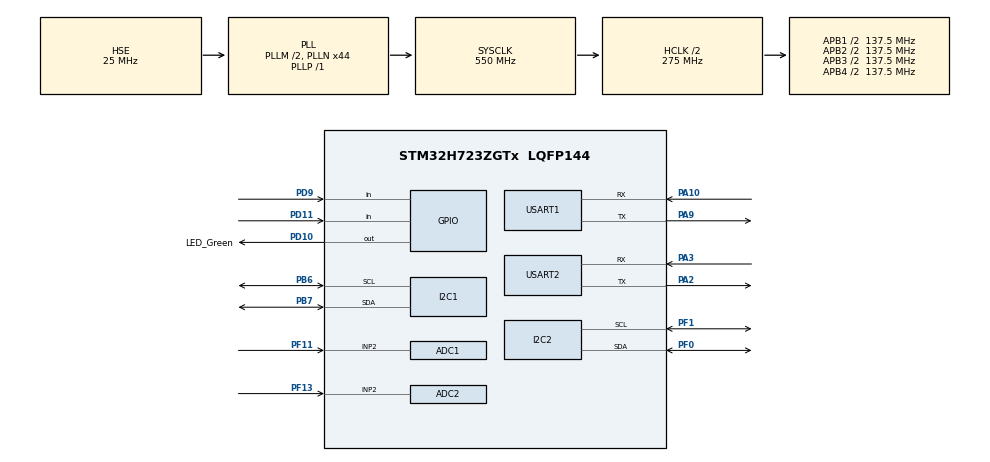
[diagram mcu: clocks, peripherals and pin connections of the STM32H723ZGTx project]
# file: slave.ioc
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ADC1.Channel-0\#ChannelRegularConversion=ADC_CHANNEL_2
ADC1.NbrOfConversionFlag=1
ADC1.OffsetNumber-0\#ChannelRegularConversion=ADC_OFFSET_NONE
ADC1.OffsetSignedSaturation-0\#ChannelRegularConversion=DISABLE
ADC1.Rank-0\#ChannelRegularConversion=1
ADC1.SamplingTime-0\#ChannelRegularConversion=ADC_SAMPLETIME_1CYCLE_5
ADC1.master=1
ADC2.Channel-0\#ChannelRegularConversion=ADC_CHANNEL_2
ADC2.NbrOfConversionFlag=1
ADC2.OffsetNumber-0\#ChannelRegularConversion=ADC_OFFSET_NONE
ADC2.OffsetSignedSaturation-0\#ChannelRegularConversion=DISABLE
ADC2.Rank-0\#ChannelRegularConversion=1
ADC2.SamplingTime-0\#ChannelRegularConversion=ADC_SAMPLETIME_1CYCLE_5
I2C1.OwnAddress=0x3C
I2C1.Timing=0x60404E72
I2C2.OwnAddress=0x3C
I2C2.Timing=0x60404E72
Mcu.Family=STM32H7
Mcu.Name=STM32H723ZGTx
Mcu.Package=LQFP144
NVIC.PriorityGroup=NVIC_PRIORITYGROUP_4
NVIC.USART1_IRQn=true\:0\:0\:false\:false\:true\:true\:true\:true
NVIC.USART2_IRQn=true\:0\:0\:false\:false\:true\:true\:true\:true
PA10.Mode=Asynchronous
PA10.Signal=USART1_RX
PA13(JTMS/SWDIO).Mode=Serial_Wire
PA13(JTMS/SWDIO).Signal=DEBUG_JTMS-SWDIO
PA14(JTCK/SWCLK).Mode=Serial_Wire
PA14(JTCK/SWCLK).Signal=DEBUG_JTCK-SWCLK
PA2.Mode=Asynchronous
PA2.Signal=USART2_TX
PA3.Mode=Asynchronous
PA3.Signal=USART2_RX
PA9.Mode=Asynchronous
PA9.Signal=USART1_TX
PB6.Mode=I2C
PB6.Signal=I2C1_SCL
PB7.Mode=I2C
PB7.Signal=I2C1_SDA
PD10.GPIO_Label=LED_Green
PD10.Signal=GPIO_Output
PD11.Signal=GPIO_Input
PD9.Signal=GPIO_Input
PF0.Mode=I2C
PF0.Signal=I2C2_SDA
PF1.Mode=I2C
PF1.Signal=I2C2_SCL
PF11.Mode=IN2-Single-Ended
PF11.Signal=ADC1_INP2
PF13.Mode=IN2-Single-Ended
PF13.Signal=ADC2_INP2
PH0-OSC_IN.Mode=HSE-External-Oscillator
PH0-OSC_IN.Signal=RCC_OSC_IN
PH1-OSC_OUT.Mode=HSE-External-Oscillator
PH1-OSC_OUT.Signal=RCC_OSC_OUT
ProjectManager.HeapSize=0x200
ProjectManager.StackSize=0x400
ProjectManager.TargetToolchain=MDK-ARM V5.32
RCC.ADCFreq_Value=100000000
RCC.APB1Freq_Value=137500000
RCC.APB2Freq_Value=137500000
RCC.APB3Freq_Value=137500000
RCC.APB4Freq_Value=137500000
RCC.CortexFreq_Value=550000000
RCC.D1PPRE=RCC_APB3_DIV2
RCC.D2PPRE1=RCC_APB1_DIV2
RCC.D2PPRE2=RCC_APB2_DIV2
RCC.D3PPRE=RCC_APB4_DIV2
RCC.DIVM1=2
RCC.DIVM2=2
RCC.DIVN1=44
RCC.DIVN2=16
RCC.DIVP1=1
RCC.HCLKFreq_Value=275000000
RCC.HPRE=RCC_HCLK_DIV2
RCC.PLLFRACN=0
RCC.PLLSourceVirtual=RCC_PLLSOURCE_HSE
RCC.SYSCLKFreq_VALUE=550000000
RCC.SYSCLKSource=RCC_SYSCLKSOURCE_PLLCLK
RCC.USBFreq_Value=275000000
USART1.VirtualMode-Asynchronous=VM_ASYNC
USART2.VirtualMode-Asynchronous=VM_ASYNC
board=custom

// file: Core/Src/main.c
/* USER CODE BEGIN Header */
/**
  ******************************************************************************
  * @file           : main.c
  * @brief          : Main program body
  ******************************************************************************
  * @attention
  *
  * Copyright (c) 2025 STMicroelectronics.
  * All rights reserved.
  *
  * This software is licensed under terms that can be found in the LICENSE file
  * in the root directory of this software component.
  * If no LICENSE file comes with this software, it is provided AS-IS.
  *
  ******************************************************************************
  */
/* USER CODE END Header */
#include "main.h"
#include "adc.h"
#include "i2c.h"
#include "usart.h"
#include "gpio.h"

#include <stdio.h>
#include <string.h>
#include <stdbool.h>

/* USER CODE BEGIN PTD */
#define ADDR_24LCxx_Write 0xA0
#define ADDR_24LCxx_Read  0xA1
#define BufferSize        0x100

#define BUTTON_GPIO_Port  GPIOD   // For example, if D9 is on GPIOD pin 9
#define BUTTON_Pin        GPIO_PIN_9

#define LED_GPIO_Port     GPIOD   // For example, if D10 is on GPIOD pin 10
#define LED_Pin           GPIO_PIN_10

uint32_t x_axis = 0;
uint32_t y_axis = 0;
char uartMsg[50];
uint8_t receivedData[20];
uint8_t rxByte2;  // Used for USART2 RX interrupt

// New variables for main-based processing of received data:
volatile uint8_t rxFlag = 0;    // Flag set when a new byte is received
volatile uint8_t rxData = 0;    // Holds the received byte

/* USER CODE END PTD */

/* USER CODE BEGIN PD */
uint8_t I2C_Buffer_Write[BufferSize], ReadBuffer[BufferSize];
/* USER CODE END PD */

void SystemClock_Config(void);
void PeriphCommonClock_Config(void);

int main(void)
{

  /* MCU Configuration--------------------------------------------------------*/
  HAL_Init();

  /* Configure the system clock */
  SystemClock_Config();
  /* Configure the peripherals common clocks */
  PeriphCommonClock_Config();

  /* Initialize all configured peripherals */
  MX_GPIO_Init();
  MX_I2C2_Init();
  MX_USART1_UART_Init();
  MX_I2C1_Init();
  MX_ADC1_Init();
  MX_ADC2_Init();
  MX_USART2_UART_Init();

  /* USER CODE BEGIN 2 */
  // Start interrupt-based reception on USART2 (1 byte at a time)
  if (HAL_UART_Receive_IT(&huart2, &rxByte2, 1) != HAL_OK)
  {
      Error_Handler();
  }

  // Turn LED ON by default
  HAL_GPIO_WritePin(LED_GPIO_Port, LED_Pin, GPIO_PIN_SET);
  /* USER CODE END 2 */

  // Initialize button state (assume pull-up, so default is SET)
  GPIO_PinState lastButtonState = GPIO_PIN_SET;

  /* Infinite loop */
  /* USER CODE BEGIN WHILE */
  while (1)
  {
    /* Optional: transmit test data via USART1 */
    HAL_UART_Transmit(&huart1, (uint8_t*)"666\n", 4, HAL_MAX_DELAY);

    HAL_Delay(100);

    // Read ADC1 for x_axis (PF11)
    HAL_ADC_Start(&hadc1);
    if (HAL_ADC_PollForConversion(&hadc1, 10) == HAL_OK)
    {
      x_axis = HAL_ADC_GetValue(&hadc1);
    }
    HAL_ADC_Stop(&hadc1);

    // Read ADC2 for y_axis (PF13)
    HAL_ADC_Start(&hadc2);
    if (HAL_ADC_PollForConversion(&hadc2, 10) == HAL_OK)
    {
      y_axis = HAL_ADC_GetValue(&hadc2);
    }
    HAL_ADC_Stop(&hadc2);

    // Check joystick direction and transmit message via USART2
    if (x_axis <= 3000 && y_axis <= 3000)
    {
        sprintf(uartMsg, "moving up left\r\n");
        HAL_UART_Transmit(&huart2, (uint8_t*)uartMsg, strlen(uartMsg), HAL_MAX_DELAY);
    }
    else if (x_axis <= 3000 && y_axis >= 55000)
    {
        sprintf(uartMsg, "moving up right\r\n");
        HAL_UART_Transmit(&huart2, (uint8_t*)uartMsg, strlen(uartMsg), HAL_MAX_DELAY);
    }
    else if (x_axis >= 55000 && y_axis <= 3000)
    {
        sprintf(uartMsg, "moving down left\r\n");
        HAL_UART_Transmit(&huart2, (uint8_t*)uartMsg, strlen(uartMsg), HAL_MAX_DELAY);
    }
    else if (x_axis >= 55000 && y_axis >= 55000)
    {
        sprintf(uartMsg, "moving down right\r\n");
        HAL_UART_Transmit(&huart2, (uint8_t*)uartMsg, strlen(uartMsg), HAL_MAX_DELAY);
    }
    else if (x_axis <= 3000)  // Only vertical (up) if not diagonal
    {
        sprintf(uartMsg, "moving up\r\n");
        HAL_UART_Transmit(&huart2, (uint8_t*)uartMsg, strlen(uartMsg), HAL_MAX_DELAY);
    }
    else if (x_axis >= 55000) // Only vertical (down) if not diagonal
    {
        sprintf(uartMsg, "moving down\r\n");
        HAL_UART_Transmit(&huart2, (uint8_t*)uartMsg, strlen(uartMsg), HAL_MAX_DELAY);
    }
    else if (y_axis <= 3000)  // Only horizontal (left) if not diagonal
    {
        sprintf(uartMsg, "moving left\r\n");
        HAL_UART_Transmit(&huart2, (uint8_t*)uartMsg, strlen(uartMsg), HAL_MAX_DELAY);
    }
    else if (y_axis >= 55000) // Only horizontal (right) if not diagonal
    {
        sprintf(uartMsg, "moving right\r\n");
        HAL_UART_Transmit(&huart2, (uint8_t*)uartMsg, strlen(uartMsg), HAL_MAX_DELAY);
    }
    else
    {
        sprintf(uartMsg, "not moving\r\n");
        HAL_UART_Transmit(&huart2, (uint8_t*)uartMsg, strlen(uartMsg), HAL_MAX_DELAY);
    }

    HAL_Delay(100);

    // Check the button state and toggle LED if pressed
    GPIO_PinState currentButtonState = HAL_GPIO_ReadPin(BUTTON_GPIO_Port, BUTTON_Pin);
    if (currentButtonState == GPIO_PIN_RESET && lastButtonState == GPIO_PIN_SET)
    {
      HAL_GPIO_TogglePin(LED_GPIO_Port, LED_Pin);
      HAL_Delay(50); // simple debounce delay
    }
    lastButtonState = currentButtonState;

    // --- New feature: Process received USART2 data in main ---
    if (rxFlag == 1)
    {
      // Format the received byte and transmit it via USART2
			sprintf(uartMsg, "Received: 0x%02X\r\n", rxData);
			HAL_UART_Transmit(&huart2, (uint8_t*)uartMsg, strlen(uartMsg), HAL_MAX_DELAY);
      // Clear the flag so that we only print once per received byte
      rxFlag = 0;
    }
  /* USER CODE END WHILE */

  }
}

/**
  * @brief Callback for UART RX complete (called by HAL when 1 byte is received)
  * @param huart: UART handle
  * @retval None
  */
void HAL_UART_RxCpltCallback(UART_HandleTypeDef *huart)
{
    if (huart->Instance == USART2)
  {
    // Immediately echo the single character
    HAL_UART_Transmit(&huart2, &rxByte2, 1, HAL_MAX_DELAY);

    // Restart reception
    HAL_UART_Receive_IT(&huart2, &rxByte2, 1);
}
	}

void SystemClock_Config(void)
{
  RCC_OscInitTypeDef RCC_OscInitStruct = {0};
  RCC_ClkInitTypeDef RCC_ClkInitStruct = {0};

  /* Supply configuration update enable */
  HAL_PWREx_ConfigSupply(PWR_LDO_SUPPLY);

  /* Configure the main internal regulator output voltage */
  __HAL_PWR_VOLTAGESCALING_CONFIG(PWR_REGULATOR_VOLTAGE_SCALE0);

  while(!__HAL_PWR_GET_FLAG(PWR_FLAG_VOSRDY)) {}

  /* Initializes the RCC Oscillators according to the specified parameters */
  RCC_OscInitStruct.OscillatorType = RCC_OSCILLATORTYPE_HSE;
  RCC_OscInitStruct.HSEState = RCC_HSE_ON;
  RCC_OscInitStruct.PLL.PLLState = RCC_PLL_ON;
  RCC_OscInitStruct.PLL.PLLSource = RCC_PLLSOURCE_HSE;
  RCC_OscInitStruct.PLL.PLLM = 2;
  RCC_OscInitStruct.PLL.PLLN = 44;
  RCC_OscInitStruct.PLL.PLLP = 1;
  RCC_OscInitStruct.PLL.PLLQ = 2;
  RCC_OscInitStruct.PLL.PLLR = 2;
  RCC_OscInitStruct.PLL.PLLRGE = RCC_PLL1VCIRANGE_3;
  RCC_OscInitStruct.PLL.PLLVCOSEL = RCC_PLL1VCOWIDE;
  RCC_OscInitStruct.PLL.PLLFRACN = 0;
  if (HAL_RCC_OscConfig(&RCC_OscInitStruct) != HAL_OK)
  {
    Error_Handler();
  }

  /* Initializes the CPU, AHB and APB buses clocks */
  RCC_ClkInitStruct.ClockType = RCC_CLOCKTYPE_HCLK | RCC_CLOCKTYPE_SYSCLK |
                                RCC_CLOCKTYPE_PCLK1 | RCC_CLOCKTYPE_PCLK2 |
                                RCC_CLOCKTYPE_D3PCLK1 | RCC_CLOCKTYPE_D1PCLK1;
  RCC_ClkInitStruct.SYSCLKSource = RCC_SYSCLKSOURCE_PLLCLK;
  RCC_ClkInitStruct.SYSCLKDivider = RCC_SYSCLK_DIV1;
  RCC_ClkInitStruct.AHBCLKDivider = RCC_HCLK_DIV2;
  RCC_ClkInitStruct.APB3CLKDivider = RCC_APB3_DIV2;
  RCC_ClkInitStruct.APB1CLKDivider = RCC_APB1_DIV2;
  RCC_ClkInitStruct.APB2CLKDivider = RCC_APB2_DIV2;
  RCC_ClkInitStruct.APB4CLKDivider = RCC_APB4_DIV2;

  if (HAL_RCC_ClockConfig(&RCC_ClkInitStruct, FLASH_LATENCY_3) != HAL_OK)
  {
    Error_Handler();
  }
}

void PeriphCommonClock_Config(void)
{
  RCC_PeriphCLKInitTypeDef PeriphClkInitStruct = {0};

  /* Initializes the peripherals clock */
  PeriphClkInitStruct.PeriphClockSelection = RCC_PERIPHCLK_ADC;
  PeriphClkInitStruct.PLL2.PLL2M = 2;
  PeriphClkInitStruct.PLL2.PLL2N = 16;
  PeriphClkInitStruct.PLL2.PLL2P = 2;
  PeriphClkInitStruct.PLL2.PLL2Q = 2;
  PeriphClkInitStruct.PLL2.PLL2R = 2;
  PeriphClkInitStruct.PLL2.PLL2RGE = RCC_PLL2VCIRANGE_3;
  PeriphClkInitStruct.PLL2.PLL2VCOSEL = RCC_PLL2VCOWIDE;
  PeriphClkInitStruct.PLL2.PLL2FRACN = 0;
  PeriphClkInitStruct.AdcClockSelection = RCC_ADCCLKSOURCE_PLL2;
  if (HAL_RCCEx_PeriphCLKConfig(&PeriphClkInitStruct) != HAL_OK)
  {
    Error_Handler();
  }
}

void Error_Handler(void)
{
  __disable_irq();
  while (1)
  {
    // Stay here in case of error
  }
}
